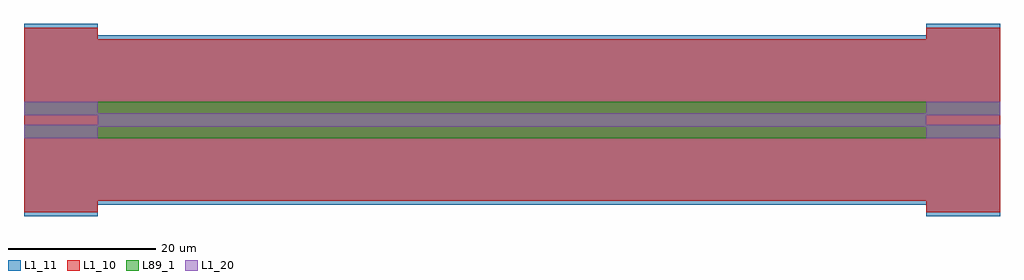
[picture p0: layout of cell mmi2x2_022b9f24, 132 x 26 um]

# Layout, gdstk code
import gdstk
lib = gdstk.Library(unit=1e-6, precision=1e-09)
def R(c, l, rs):  # rectangles x0, y0, x1, y1
    for r in rs: c.add(gdstk.rectangle(r[:2], r[2:], *l))
L1_10 = (1, 10)
L1_11 = (1, 11)
L1_20 = (1, 20)
L89_1 = (89, 1)

mmi2x2_022b9f24 = lib.new_cell('mmi2x2_022b9f24')
R(mmi2x2_022b9f24, L1_10, [(-10,-12.5,0,9.376), (112,-12.5,122,9.376), (0,-10.938,112,10.938), (-10,-9.376,0,12.5), (112,-9.376,122,12.5)])
R(mmi2x2_022b9f24, L1_11, [(-10,-13,0,9.876), (112,-13,122,9.876), (0,-11.438,112,11.438), (-10,-9.876,0,13), (112,-9.876,122,13)])
R(mmi2x2_022b9f24, L1_20, [(-10,-2.5,0,-0.624), (112,-2.5,122,-0.624), (0,-0.938,112,0.938), (-10,0.624,0,2.5), (112,0.624,122,2.5)])
R(mmi2x2_022b9f24, L89_1, [(-10,-2.5,0,-0.624), (0,-2.5,112,2.5), (112,-2.5,122,-0.624), (-10,0.624,0,2.5), (112,0.624,122,2.5)])

lib.write_gds('mmi2x2_022b9f24.gds')
